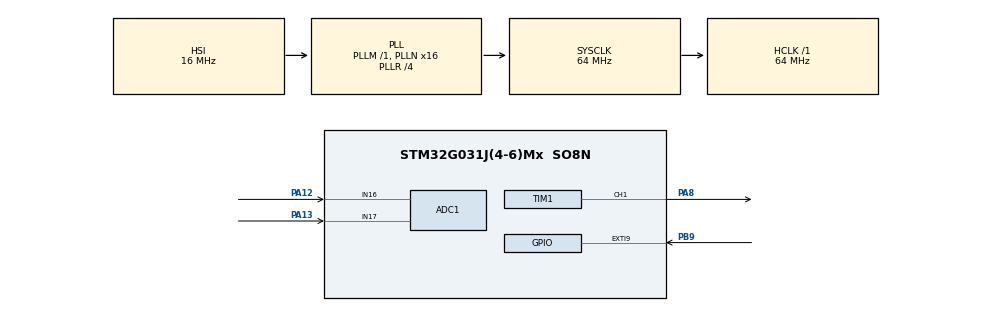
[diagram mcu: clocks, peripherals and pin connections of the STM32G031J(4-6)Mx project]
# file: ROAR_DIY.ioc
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ADC1.ContinuousConvMode=DISABLE
ADC1.DMAContinuousRequests=DISABLE
ADC1.DiscontinuousConvMode=DISABLE
ADC1.NbrOfConversion=1
ADC1.NbrOfConversionFlag=0
ADC1.OversamplingMode=ENABLE
ADC1.Ratio=ADC_OVERSAMPLING_RATIO_256
ADC1.RightBitShift=ADC_RIGHTBITSHIFT_4
ADC1.SamplingTimeCommon1=ADC_SAMPLETIME_1CYCLE_5
ADC1.SelectedChannel=ADC_CHANNEL_16|ADC_CHANNEL_17
ADC1.Sequencer=NOT_FULLY_CONFIGURABLE
ADC1.master=1
Dma.ADC1.1.Direction=DMA_PERIPH_TO_MEMORY
Dma.ADC1.1.EventEnable=DISABLE
Dma.ADC1.1.Instance=DMA1_Channel2
Dma.ADC1.1.MemDataAlignment=DMA_MDATAALIGN_HALFWORD
Dma.ADC1.1.MemInc=DMA_MINC_ENABLE
Dma.ADC1.1.Mode=DMA_NORMAL
Dma.ADC1.1.PeriphDataAlignment=DMA_PDATAALIGN_HALFWORD
Dma.ADC1.1.PeriphInc=DMA_PINC_DISABLE
Dma.ADC1.1.Polarity=HAL_DMAMUX_REQ_GEN_RISING
Dma.ADC1.1.Priority=DMA_PRIORITY_LOW
Dma.ADC1.1.RequestNumber=1
Dma.ADC1.1.SignalID=NONE
Dma.ADC1.1.SyncEnable=DISABLE
Dma.ADC1.1.SyncPolarity=HAL_DMAMUX_SYNC_NO_EVENT
Dma.ADC1.1.SyncRequestNumber=1
Dma.ADC1.1.SyncSignalID=NONE
Dma.Request0=TIM2_CH1
Dma.Request1=ADC1
Dma.TIM2_CH1.0.Direction=DMA_MEMORY_TO_PERIPH
Dma.TIM2_CH1.0.EventEnable=DISABLE
Dma.TIM2_CH1.0.Instance=DMA1_Channel1
Dma.TIM2_CH1.0.MemDataAlignment=DMA_MDATAALIGN_WORD
Dma.TIM2_CH1.0.MemInc=DMA_MINC_ENABLE
Dma.TIM2_CH1.0.Mode=DMA_CIRCULAR
Dma.TIM2_CH1.0.PeriphDataAlignment=DMA_PDATAALIGN_WORD
Dma.TIM2_CH1.0.PeriphInc=DMA_PINC_DISABLE
Dma.TIM2_CH1.0.Polarity=HAL_DMAMUX_REQ_GEN_RISING
Dma.TIM2_CH1.0.Priority=DMA_PRIORITY_HIGH
Dma.TIM2_CH1.0.RequestNumber=1
Dma.TIM2_CH1.0.SignalID=NONE
Dma.TIM2_CH1.0.SyncEnable=DISABLE
Dma.TIM2_CH1.0.SyncPolarity=HAL_DMAMUX_SYNC_NO_EVENT
Dma.TIM2_CH1.0.SyncRequestNumber=1
Dma.TIM2_CH1.0.SyncSignalID=NONE
Mcu.Family=STM32G0
Mcu.Name=STM32G031J(4-6)Mx
Mcu.Package=SO8N
NVIC.DMA1_Channel1_IRQn=true\:0\:0\:false\:false\:true\:false\:true\:true
NVIC.DMA1_Channel2_3_IRQn=true\:0\:0\:false\:false\:true\:false\:true\:true
NVIC.EXTI4_15_IRQn=true\:0\:0\:false\:false\:true\:true\:true\:true
PA12\ [PA10].Mode=IN16
PA12\ [PA10].Signal=ADC1_IN16
PA13.Mode=IN17
PA13.Signal=ADC1_IN17
PA14-BOOT0__PA15__PB5__PB6.StandardMode=true
PA8.Signal=S_TIM1_CH1
PB0__PB1__PA8__PA11\ [PA9].StandardMode=true
PB9.GPIO_ModeDefaultEXTI=GPIO_MODE_IT_RISING_FALLING
PB9.Signal=GPXTI9
PC14-OSC32_IN\ (PC14)__PB7__PB8__PB9.StandardMode=true
PF2\ -\ NRST__PA0__PA1__PA2.StandardMode=true
ProjectManager.HeapSize=0x200
ProjectManager.StackSize=0x400
ProjectManager.TargetToolchain=STM32CubeIDE
RCC.ADCFreq_Value=64000000
RCC.AHBFreq_Value=64000000
RCC.CortexFreq_Value=64000000
RCC.EXTERNAL_CLOCK_VALUE=12288000
RCC.HCLKFreq_Value=64000000
RCC.HSE_VALUE=8000000
RCC.HSI_VALUE=16000000
RCC.LSE_VALUE=32768
RCC.PLLN=16
RCC.PLLR=RCC_PLLR_DIV4
RCC.SYSCLKFreq_VALUE=64000000
RCC.SYSCLKSource=RCC_SYSCLKSOURCE_PLLCLK
RCC.TIM1CLockSelectionVirtual=RCC_TIM1CLKSOURCE_PLL
RCC.VCOOutputFreq_Value=256000000
SH.S_TIM1_CH1.0=TIM1_CH1,PWM Generation1 CH1
TIM1.AutoReloadPreload=TIM_AUTORELOAD_PRELOAD_ENABLE
TIM1.Channel-PWM\ Generation1\ CH1=TIM_CHANNEL_1
TIM1.Period=256-1
TIM2.AutoReloadPreload=TIM_AUTORELOAD_PRELOAD_ENABLE
TIM2.Channel-Output\ Compare1\ No\ Output=TIM_CHANNEL_1
TIM2.Period=1000
VP_TIM1_VS_ClockSourceINT.Mode=Internal
VP_TIM2_VS_ClockSourceINT.Mode=Internal
VP_TIM2_VS_no_output1.Mode=Output Compare1 No Output
board=STM32G0316-DISCO

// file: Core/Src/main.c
/* USER CODE BEGIN Header */
/**
 ******************************************************************************
 * @file           : main.c
 * @brief          : Main program body
 ******************************************************************************
 *ROAR_DIY_25_5_25 - JR_AC
 *
 *MORE ROAR! Guide @ www.dirtyelectronics.org | moreroar.org
 *
 *NOTES DIY version
 *Entropy and group are randomly selected on power on and reset
 *Contains the dialogues.h file (dialogue between Dirty Electronics and Agnes Cameron)
 *
 *Optional
 *A additional button/silly switch to reset group, program and entropy PIN 4 - GND (PIN 3)
 *
 ******************************************************************************
 */
/* USER CODE END Header */
#include "main.h"

/* USER CODE BEGIN Includes */
#include "stdlib.h" // rand
#include "string.h" // memcpy
#include "dialogues.h" // text - dialogue between Dirty Electronics and Agnes Cameron

#define NS 256 // number of samples in wavetable 0 - 255
#define PROGRAMS 3 // number of PROGRAMS per GROUP (9 PROGRAMS in total)
#define ENTROPIES 6 // number of ENTROPIES
#define ENTROPY_RANGE 20 // ENTROPY_RANGE - see also entropy_rate*entropy_multiplier
#define ADC_RANGE 65536

/* USER CODE END Includes */

/* USER CODE BEGIN PTD */

/* tables --------------------------------------------------------------------*/

// sine wave 8 bit resolution scaled to 94% max val
uint32_t sine[NS] = { 120, 123, 126, 129, 132, 134, 137, 140, 143, 146, 149,
		152, 155, 157, 160, 163, 165, 168, 171, 174, 177, 179, 181, 184, 186,
		189, 191, 194, 196, 198, 200, 202, 205, 207, 209, 211, 212, 214, 216,
		218, 220, 221, 223, 224, 226, 227, 228, 229, 230, 231, 233, 234, 235,
		235, 236, 237, 238, 238, 239, 239, 239, 240, 240, 240, 240, 240, 240,
		240, 239, 239, 239, 238, 238, 237, 236, 235, 235, 234, 233, 231, 230,
		229, 228, 227, 226, 224, 223, 221, 220, 218, 216, 214, 212, 211, 209,
		207, 205, 202, 200, 198, 196, 194, 191, 189, 186, 184, 181, 179, 177,
		174, 171, 168, 165, 163, 160, 157, 155, 152, 149, 146, 143, 140, 137,
		134, 132, 129, 126, 123, 120, 117, 114, 111, 108, 105, 102, 100, 97, 94,
		91, 87, 85, 83, 80, 77, 74, 71, 69, 66, 63, 61, 58, 55, 54, 51, 49, 46,
		44, 41, 39, 38, 35, 33, 31, 29, 27, 25, 24, 22, 20, 19, 17, 16, 14, 13,
		11, 10, 9, 8, 7, 6, 5, 5, 4, 3, 2, 2, 1, 1, 1, 0, 0, 0, 0, 0, 0, 0, 1,
		1, 1, 2, 2, 3, 4, 5, 5, 6, 7, 8, 9, 10, 11, 13, 14, 16, 17, 19, 20, 22,
		24, 25, 27, 29, 31, 33, 35, 38, 39, 41, 44, 46, 49, 51, 54, 55, 58, 61,
		63, 66, 69, 71, 74, 77, 80, 83, 85, 87, 91, 94, 97, 100, 102, 105, 108,
		111, 114, 117 };

// triangle wave 8 bit resolution scaled to 94% max val
uint32_t triangle[NS] = { 120, 121, 123, 125, 127, 129, 131, 133, 134, 136, 138,
		140, 142, 144, 146, 148, 149, 151, 153, 155, 157, 159, 161, 163, 165,
		166, 168, 170, 172, 174, 176, 178, 180, 181, 183, 185, 187, 189, 191,
		193, 195, 196, 198, 200, 202, 204, 206, 208, 210, 212, 213, 215, 217,
		219, 221, 223, 225, 227, 228, 230, 232, 234, 236, 238, 240, 238, 236,
		234, 232, 230, 228, 227, 225, 223, 221, 219, 217, 215, 213, 212, 210,
		208, 206, 204, 202, 200, 198, 196, 195, 193, 191, 189, 187, 185, 183,
		181, 180, 178, 176, 174, 172, 170, 168, 166, 165, 163, 161, 159, 157,
		155, 153, 151, 149, 148, 146, 144, 142, 140, 138, 136, 134, 133, 131,
		129, 127, 125, 123, 121, 120, 118, 117, 115, 113, 111, 109, 107, 105,
		103, 102, 100, 98, 96, 94, 92, 90, 88, 86, 85, 83, 81, 79, 77, 75, 73,
		71, 70, 68, 66, 64, 62, 60, 58, 56, 55, 53, 51, 49, 47, 45, 43, 41, 39,
		38, 36, 34, 32, 30, 28, 26, 24, 23, 21, 19, 17, 15, 13, 11, 9, 8, 6, 4,
		2, 0, 2, 4, 6, 8, 9, 11, 13, 15, 17, 19, 21, 23, 24, 26, 28, 30, 32, 34,
		36, 38, 39, 41, 43, 45, 47, 49, 51, 53, 55, 56, 58, 60, 62, 64, 66, 68,
		70, 71, 73, 75, 77, 79, 81, 83, 85, 86, 88, 90, 92, 94, 96, 98, 100,
		102, 103, 105, 107, 109, 111, 113, 115, 117, 118 };

// wave_LUT
uint32_t wave_LUT[NS];

// DstAddress
uint32_t DstAddress = (uint32_t) &(TIM1->CCR1);

/* USER CODE END PTD */

ADC_HandleTypeDef hadc1;
DMA_HandleTypeDef hdma_adc1;

TIM_HandleTypeDef htim1;
TIM_HandleTypeDef htim2;
DMA_HandleTypeDef hdma_tim2_ch1;

/* USER CODE BEGIN PV */
// program/group select
uint8_t program_sel = 1;
uint8_t group = 1;
uint8_t entropy_multiplier = 0;

volatile uint8_t entropy_rate = 0;
volatile uint8_t entropy = 2;

// debounce
uint32_t previousMillis = 0;
uint32_t currentMillis = 0;
uint32_t reset_timer = 0;

// ADC setup
volatile uint16_t adcResultsDMA[2];
const uint8_t adcChannelCount = sizeof(adcResultsDMA)
		/ sizeof(adcResultsDMA[0]);
volatile uint8_t adcConversionComplete = 0;

/* USER CODE END PV */

void SystemClock_Config(void);
static void MX_GPIO_Init(void);
static void MX_DMA_Init(void);
static void MX_TIM1_Init(void);
static void MX_TIM2_Init(void);
static void MX_ADC1_Init(void);
/* USER CODE BEGIN PFP */

/* USER CODE BEGIN 0 */

////////////////
//// FUNCTIONS
void noise_func(uint32_t dest[], int length) {
	for (uint16_t i = 0; i < length; i++) {
		dest[i] = rand() % 240;
	}
}

///////////////
//// ENTROPIES
//5 -- triangle_smash
//4 -- XOR
//3 -- top2bottom
//2 -- bitcrush
//1 -- clip
//0 -- shuffle

//
void triangle_smash_func(uint32_t dest[], uint32_t src[], uint32_t triangle[],
		int length, int entropy) {
	for (int i = 0; i < length; i++) {
		dest[i] = src[i];
	}

	if (entropy < 4)
		entropy = 4;

	for (int i = rand() % length; i < entropy; i++) {
		uint32_t idx = i % length;
		dest[idx] = triangle[(idx + entropy) % length];
	}
}

void XOR_func(uint32_t dest[], uint32_t src[], uint16_t length,
		uint16_t entropy) {
	for (int i = 0; i < length; i++) {
		dest[i] = src[i];
		dest[i] ^= entropy;

		if (dest[i] > 240)
			dest[i] = 240;
		else if (dest[i] < 1)
			dest[i] = 1;
	}
}
//
void top2bottom_func(uint32_t dest[], uint32_t src[], uint16_t length,
		uint16_t entropy) {
	for (int i = 0; i < length; i++) {
		uint8_t new_val = src[i] - entropy;
		if (new_val < 0)
			new_val = 0;
		dest[i] = new_val;
	}
}
//
void bitcrush_func(uint32_t dest[], uint32_t src[], uint16_t length,
		uint16_t entropy) {
	if (entropy > 1) {

		uint8_t num_steps = length / entropy;

		//this gets the first entropy*num_steps elements of the array
		for (uint8_t i = 0; i < num_steps; i++) {
			uint8_t first_el = src[entropy * i];
			for (uint8_t j = 0; j < entropy; j++) {
				dest[j + entropy * i] = first_el;
			}
		}

		if (num_steps * entropy < length) {
			uint16_t leftover_el = src[num_steps * entropy];

			for (uint16_t i = num_steps * entropy; i < length; i++) {
				dest[i] = leftover_el;
			}
		}
	}

	else {
		for (int i = 0; i < length; i++) {
			dest[i] = src[i];
		}
	}
}
//
void clip_func(uint32_t dest[], uint32_t src[], uint16_t length,
		uint16_t entropy) {
	for (uint16_t i = 0; i < length; i++) {
		dest[i] = src[i];
		dest[i] += entropy;
	}
}
//
void shuffle_func(uint32_t dest[], uint32_t src[], int length, int entropy) {
	for (int i = 0; i < length; i++) {
		dest[i] = src[i];
	}

	for (int i = 0; i < entropy; i++) {
		uint32_t rand_idx_1 = rand() % length;
		uint32_t rand_idx_2 = (rand_idx_1 + rand() % entropy) % length;

		dest[rand_idx_1] = src[rand_idx_2];
		dest[rand_idx_2] = src[rand_idx_1];
	}
}

/* USER CODE END 0 */

// EXTI Line9 External Interrupt ISR Handler CallBackFun
void HAL_GPIO_EXTI_Falling_Callback(uint16_t GPIO_Pin) {
	currentMillis = HAL_GetTick(); // debounce

	if (GPIO_Pin == GPIO_PIN_9 && (currentMillis - previousMillis > 80)) { // 80 ms debounce

		if (currentMillis - reset_timer > 2000) { // reset function - hold greater than 2 secs
			NVIC_SystemReset();
			reset_timer = currentMillis;
		}
	}
}

// EXTI Line9 External Interrupt ISR Handler CallBackFun
// modified for rising and falling callback
void HAL_GPIO_EXTI_Rising_Callback(uint16_t GPIO_Pin) {
	currentMillis = HAL_GetTick(); // debounce

//	&& HAL_GPIO_ReadPin(GPIOA, GPIO_PIN_9)

	if (GPIO_Pin == GPIO_PIN_9 && (currentMillis - previousMillis > 80)) { // 80 ms debounce
		previousMillis = currentMillis;
		reset_timer = currentMillis; // separate timer for press and release

		// tmp array
		uint32_t tmp_wav[NS];
		program_sel += 1;

		if (program_sel > PROGRAMS) {

			program_sel = 1;
			entropy_multiplier += 1;

			// ENTROPY CHANGE
			if (entropy == 5) {
				triangle_smash_func(tmp_wav, sine, triangle, NS,
						entropy_rate * entropy_multiplier);
			}

			else if (entropy == 4) {
				XOR_func(tmp_wav, sine, NS, entropy_rate * entropy_multiplier); // kind of artificial/sickly
			}

			else if (entropy == 3) {
				top2bottom_func(tmp_wav, sine, NS,
						entropy_rate * entropy_multiplier); // nastyy
			}

			else if (entropy == 2) {
				bitcrush_func(tmp_wav, sine, NS,
						entropy_rate * entropy_multiplier); // beep beep
			}

			else if (entropy == 1) {
				clip_func(tmp_wav, sine, NS, entropy_rate * entropy_multiplier); // tonal, bell-like - swanny whistle
			}

			else {
				shuffle_func(tmp_wav, sine, NS,
						entropy_rate * entropy_multiplier); // classic crackly static
			}

			memcpy(wave_LUT, tmp_wav, sizeof(tmp_wav));
		}
	}
	//ENDS HERE
}

/* USER CODE END 0 */

int main(void) {

	/* MCU Configuration--------------------------------------------------------*/

	/* Reset of all peripherals, Initializes the Flash interface and the Systick. */
	HAL_Init();

	/* Configure the system clock */
	SystemClock_Config();

	/* Initialize all configured peripherals */
	MX_GPIO_Init();
	MX_DMA_Init();
	MX_TIM1_Init();
	MX_TIM2_Init();
	MX_ADC1_Init();
	/* USER CODE BEGIN 2 */

// TIM1->CCR1 = 128; // PWM test
	HAL_TIM_PWM_Start(&htim1, TIM_CHANNEL_1);
	HAL_TIM_OC_Start(&htim2, TIM_CHANNEL_1);
	HAL_DMA_Start_IT(&hdma_tim2_ch1, (uint32_t) sine, DstAddress, NS);
	__HAL_TIM_ENABLE_DMA(&htim2, TIM_DMA_CC1);
// Calibrate The ADC On Power-Up For Better Accuracy
	HAL_ADCEx_Calibration_Start(&hadc1);

	//get first adc results to initialise entropy cores
	HAL_ADC_Start_DMA(&hadc1, (uint32_t*) adcResultsDMA, adcChannelCount);
	while (adcConversionComplete == 0) {

	}
	adcConversionComplete = 0;

	// extra waves

	// noise
	uint32_t noise[NS];

	// saw_xmax wave tilted 0.96 - 8 bit resolution scaled to 94% max val
	uint32_t saw_xmax[NS] = { 0, 1, 2, 3, 4, 5, 6, 7, 8, 9, 10, 11, 12, 12, 13,
			14, 15, 16, 17, 18, 19, 20, 21, 22, 23, 24, 25, 26, 27, 28, 29, 30,
			31, 32, 33, 34, 35, 36, 36, 37, 38, 39, 40, 41, 42, 43, 44, 45, 46,
			47, 48, 49, 50, 51, 52, 53, 54, 55, 56, 57, 58, 59, 60, 61, 61, 62,
			63, 64, 65, 66, 67, 68, 69, 70, 71, 72, 73, 74, 75, 76, 77, 78, 79,
			80, 81, 82, 83, 84, 85, 85, 86, 87, 88, 89, 90, 91, 92, 93, 94, 95,
			96, 97, 98, 99, 100, 101, 102, 103, 104, 105, 106, 107, 108, 109,
			109, 110, 111, 112, 113, 114, 115, 116, 117, 118, 119, 120, 121,
			122, 123, 124, 125, 126, 127, 128, 129, 130, 131, 132, 133, 133,
			134, 135, 136, 137, 138, 139, 140, 141, 142, 143, 144, 145, 146,
			147, 148, 149, 150, 151, 152, 153, 154, 155, 156, 157, 158, 158,
			159, 160, 161, 162, 163, 164, 165, 166, 167, 168, 169, 170, 171,
			172, 173, 174, 175, 176, 177, 178, 179, 180, 181, 182, 182, 183,
			184, 185, 186, 187, 188, 189, 190, 191, 192, 193, 194, 195, 196,
			197, 198, 199, 200, 201, 202, 203, 204, 205, 206, 206, 207, 208,
			209, 210, 211, 212, 213, 214, 215, 216, 217, 218, 219, 220, 221,
			222, 223, 224, 225, 226, 227, 228, 229, 230, 230, 231, 232, 233,
			234, 235, 236, 237, 238, 239, 235, 188, 141, 94, 47, 0 };

	//set up variables
	memcpy(wave_LUT, sine, sizeof(sine));
	srand(adcResultsDMA[1]); // set random seed

	entropy_rate = 1 + rand() % ENTROPY_RANGE;
	uint32_t ctr = 0;
	uint16_t phase = 0;
	uint8_t phase_add = 15;
	uint32_t freq = 1000;
	uint32_t ctr_scale = 0;
	uint32_t table_lookup = 1000;
	uint32_t ad0_bitshift = 1000;
	uint16_t period = 100;

	entropy = rand() % 6;
	group = rand() % 3 + 1;

	/* USER CODE END 2 */

	/* Infinite loop */
	/* USER CODE BEGIN WHILE */

	while (1) {

		///// GROUP 1
		///// WEATHERED
		if (group == 1) {

			// DMA
			DMA1_Channel1->CMAR = (uint32_t) wave_LUT; // SrcAddress

			if (program_sel == 1) {
				/////////////
				// PROGRAM 1

				ctr_scale = (adcResultsDMA[1] >> 9) + 1;

				for (int i = 0; i < NS; i++) {
					noise[i] = (rand() % 240) + 1;
				}

				table_lookup = noise[phase];
				ad0_bitshift = (adcResultsDMA[0] >> 3);
				freq = ad0_bitshift
						+ (table_lookup) * ((adcResultsDMA[1] >> 10) + 1);

				if (freq <= 0)
					freq = 1;
				TIM2->ARR = freq;

				ctr += 1;
				if (ctr % ctr_scale == 0) {
					phase += 10;
				}

				phase = phase % NS;
				ctr = ctr % NS;
			}

			else if (program_sel == 2) {
				/////////////
				// PROGRAM 2

				ctr_scale = (adcResultsDMA[1] >> 9) + 1;
				table_lookup = sine[phase];
				ad0_bitshift = (adcResultsDMA[0] >> 3); // Counter Period (ARR) random length
				freq = ad0_bitshift + (table_lookup) * ((rand() % 100) + 1);

				if (freq <= 0)
					freq = 1;
				TIM2->ARR = freq;

				ctr += 1;
				if (ctr % ctr_scale == 0) {
					phase ^= (adcResultsDMA[1] >> 3);
				}

				phase = phase % NS;
				ctr = ctr % NS;
			}

			else if (program_sel == 3) {
				/////////////
				// PROGRAM 3

				ctr_scale = (adcResultsDMA[1] >> 9) + 1;
				table_lookup = sine[phase];
				uint32_t rand_mod = (adcResultsDMA[1] >> 9);
				if (rand_mod > 100)
					rand_mod = 100;
				else if (rand_mod < 1)
					rand_mod = 1;

				ad0_bitshift = ((adcResultsDMA[0] >> 5) + 10)
						* (rand() % rand_mod + 1);
				freq = ad0_bitshift + (table_lookup) * 2;

				if (freq <= 0)
					freq = 1;
				TIM2->ARR = freq;

				ctr += 1;
				if (ctr % ctr_scale == 0) {
					phase += 1;
				}

				phase = phase % NS;
				ctr = ctr % NS;
			}
		}

		///// GROUP 2
		///// PITCHED

		if (group == 2) {

			// DMA
			DMA1_Channel1->CMAR = (uint32_t) wave_LUT; // SrcAddress

			if (program_sel == 1) {
				////////////////
				// PROGRAM 1 (4)

				ctr_scale = 1;
				phase_add = (adcResultsDMA[1] >> 9);
				table_lookup = sine[phase];
				ad0_bitshift = (adcResultsDMA[0] >> 3);
				freq = ad0_bitshift + (table_lookup) * 2;

				if (freq <= 0)
					freq = 1;
				TIM2->ARR = freq;

				ctr += 1;
				if (ctr % ctr_scale == 0) {
					phase += phase_add; // note!
				}

				phase = phase % NS;
				ctr = ctr % NS;
			}

			else if (program_sel == 2) {
				////////////////
				// PROGRAM 2 (5)

				ctr_scale = (adcResultsDMA[1] >> 9) + 1;
				table_lookup = sine[phase];
				ad0_bitshift = (adcResultsDMA[0] >> 2); // edited
				freq = ad0_bitshift + (table_lookup) * 30;

				if (freq <= 0)
					freq = 1;
				TIM2->ARR = freq;

				ctr += 1;
				if (ctr % ctr_scale == 0) {
					phase += 10;
				}

				phase = phase % NS;
				ctr = ctr % NS;
			}

			else if (program_sel == 3) {
				////////////////
				// PROGRAM 3 (6)

				ctr_scale = (adcResultsDMA[1] >> 9) + 1;
				table_lookup = saw_xmax[phase];
				freq = (adcResultsDMA[0] >> 3) + ((table_lookup) * 11);

				if (freq <= 0)
					freq = 1;
				TIM2->ARR = freq;

				ctr += 1;
				if (ctr % ctr_scale == 0) {
					phase += 1;
				}

				phase = phase % NS;
				ctr = ctr % NS;
			}
		}

		///// GROUP 3
		///// SCATTERED

		if (group == 3) {
			if (program_sel == 1) {
				////////////////
				// PROGRAM 1 (7)

				uint16_t envelope_clock = HAL_GetTick() % period; // debounce
				uint16_t multiplier = 1; // period/4;
				uint16_t marker_1 = period / 4;
				uint16_t marker_2 = period / 2;
				uint16_t marker_3 = 3 * period / 4;

				if (envelope_clock == 0) { // only reset the period every cycle, stops noise
					period = 300 + adcResultsDMA[1] / 500
							+ adcResultsDMA[0] / 800;
					if (period < 60)
						period = 60;
					else if (period > 600)
						period = 600;
					period = period - period % 4; // must divide by 4

					// marker 1 between 0 and 0.5 * period
					marker_1 = ((adcResultsDMA[0] % ADC_RANGE) * period)
							/ (ADC_RANGE * 2);

					// marker 3 between 0.5 and 1.0 * period
					marker_3 = ((adcResultsDMA[1] % ADC_RANGE) * period)
							/ (ADC_RANGE * 2) + period / 2;
				}

				// ATTACK -- ramp up
				if (envelope_clock < marker_1) {
					multiplier = envelope_clock * ((period / 4) / marker_1);
				}

				// SUSTAIN
				else if (envelope_clock < marker_2) {
					multiplier = period / 4;
				}

				// DECAY -- ramp down
				else if (envelope_clock < 3 * marker_3) {
					multiplier = (period - envelope_clock)
							* ((period / 4) / (marker_3 - marker_2));
				}

				uint32_t tmp_wav[NS];
				for (uint16_t i = 0; i < NS; i++) {
					uint16_t new_val = wave_LUT[i] * multiplier / (period / 4);
					if (new_val > 240)
						new_val = 240;
					if (new_val < 1)
						new_val = 1;
					tmp_wav[i] = new_val;
				}
				DMA1_Channel1->CMAR = (uint32_t) tmp_wav; // SrcAddress

				ctr_scale = (adcResultsDMA[1] >> 9) + 1;
				table_lookup = sine[phase];
				ad0_bitshift = (adcResultsDMA[0] >> 4);
				freq = ad0_bitshift + (table_lookup) * 20;

				if (freq <= 0)
					freq = 1;
				TIM2->ARR = freq;

				ctr += 1;
				if (ctr % ctr_scale == 0) {
					phase += rand() % NS;
				}

				phase = phase % NS;
				ctr = ctr % NS;
			}

			else if (program_sel == 2) {
				////////////////
				// PROGRAM 2 (8)
				// ENVELOPE FUNC 1 - CONTROLS FROM BOTH DMAS

				uint16_t period = adcResultsDMA[1] / 1000
						+ adcResultsDMA[0] / 1000;
				if (period < 60)
					period = 60;
				period = period - period % 4; // must divide by 4
				uint16_t envelope_clock = HAL_GetTick() % period; // debounce
				uint16_t divisor = period / 4; // period/4;

				// ATTACK -- ramp up
				if (envelope_clock < period / 4) {
					divisor = (period / 4 - envelope_clock) + 1;
				}

				// SUSTAIN
				else if (envelope_clock < period / 2) {
					divisor = 1;
				}

				// DECAY -- ramp down
				else if (envelope_clock < 3 * period / 4) {
					divisor = (envelope_clock - 3 * period / 4) + 1;
				}

				else
					divisor = period / 4;

				uint32_t divisor_scaled = (divisor * 100 / period);

				uint32_t tmp_wav[NS];
				for (int i = 0; i < NS; i++)
					tmp_wav[i] = wave_LUT[i] / divisor_scaled;
				DMA1_Channel1->CMAR = (uint32_t) tmp_wav; // SrcAddress

				ctr_scale = 1;
				phase_add = (adcResultsDMA[1] >> 8);
				table_lookup = sine[phase];
				ad0_bitshift = (adcResultsDMA[0] >> 3);
				freq = ad0_bitshift + (table_lookup) * 2;

				if (freq <= 0)
					freq = 1;
				TIM2->ARR = freq;

				ctr += 1;
				if (ctr % ctr_scale == 0) {
					phase += phase_add; // note!
				}

				phase = phase % NS;
				ctr = ctr % NS;
			}

			else if (program_sel == 3) {
				////////////////
				// PROGRAM 3 (9)
				// ULTIMATE QUESTION OF LIFE

				// DMA
				DMA1_Channel1->CMAR = (uint32_t) wave_LUT; // SrcAddress
				ctr_scale = (adcResultsDMA[1] >> 9) + 1; //9

				table_lookup = sine[phase];
				ad0_bitshift = (adcResultsDMA[0] >> 3);
				freq = ad0_bitshift
						+ (table_lookup) * ((adcResultsDMA[0] >> 7) + 1); //10

				if (freq <= 0)
					freq = 1;
				TIM2->ARR = freq;

				ctr += 1;
				if (ctr % ctr_scale == 0) {
					phase += (rand() % 42) + 1;
				}

				phase = phase % NS;
				ctr = ctr % NS;
			}
		}

		///////////////////
		// END OF PROGRAMS

		if (entropy == 0 && entropy_multiplier > 0 && ctr % ctr_scale == 0) {

			// tmp
			uint32_t tmp_wav[NS];

			shuffle_func(tmp_wav, sine, NS, entropy_rate * entropy_multiplier); // classic crackly static
			memcpy(wave_LUT, tmp_wav, sizeof(tmp_wav));
		}

		/* USER CODE END WHILE */

		/* USER CODE BEGIN 3 */
		HAL_ADC_Start_DMA(&hadc1, (uint32_t*) adcResultsDMA, adcChannelCount);
		while (adcConversionComplete == 0) {

		}
		adcConversionComplete = 0;
	} // end of while loop!
	/* USER CODE END 3 */
}

void SystemClock_Config(void) {
	RCC_OscInitTypeDef RCC_OscInitStruct = { 0 };
	RCC_ClkInitTypeDef RCC_ClkInitStruct = { 0 };

	/** Configure the main internal regulator output voltage
	 */
	HAL_PWREx_ControlVoltageScaling(PWR_REGULATOR_VOLTAGE_SCALE1);

	/** Initializes the RCC Oscillators according to the specified parameters
	 * in the RCC_OscInitTypeDef structure.
	 */
	RCC_OscInitStruct.OscillatorType = RCC_OSCILLATORTYPE_HSI;
	RCC_OscInitStruct.HSIState = RCC_HSI_ON;
	RCC_OscInitStruct.HSIDiv = RCC_HSI_DIV1;
	RCC_OscInitStruct.HSICalibrationValue = RCC_HSICALIBRATION_DEFAULT;
	RCC_OscInitStruct.PLL.PLLState = RCC_PLL_ON;
	RCC_OscInitStruct.PLL.PLLSource = RCC_PLLSOURCE_HSI;
	RCC_OscInitStruct.PLL.PLLM = RCC_PLLM_DIV1;
	RCC_OscInitStruct.PLL.PLLN = 16;
	RCC_OscInitStruct.PLL.PLLP = RCC_PLLP_DIV2;
	RCC_OscInitStruct.PLL.PLLQ = RCC_PLLQ_DIV2;
	RCC_OscInitStruct.PLL.PLLR = RCC_PLLR_DIV4;
	if (HAL_RCC_OscConfig(&RCC_OscInitStruct) != HAL_OK) {
		Error_Handler();
	}

	/** Initializes the CPU, AHB and APB buses clocks
	 */
	RCC_ClkInitStruct.ClockType = RCC_CLOCKTYPE_HCLK | RCC_CLOCKTYPE_SYSCLK
			| RCC_CLOCKTYPE_PCLK1;
	RCC_ClkInitStruct.SYSCLKSource = RCC_SYSCLKSOURCE_PLLCLK;
	RCC_ClkInitStruct.AHBCLKDivider = RCC_SYSCLK_DIV1;
	RCC_ClkInitStruct.APB1CLKDivider = RCC_HCLK_DIV1;

	if (HAL_RCC_ClockConfig(&RCC_ClkInitStruct, FLASH_LATENCY_2) != HAL_OK) {
		Error_Handler();
	}
}

static void MX_ADC1_Init(void) {

	ADC_ChannelConfTypeDef sConfig = { 0 };

	/** Configure the global features of the ADC (Clock, Resolution, Data Alignment and number of conversion)
	 */
	hadc1.Instance = ADC1;
	hadc1.Init.ClockPrescaler = ADC_CLOCK_SYNC_PCLK_DIV2;
	hadc1.Init.Resolution = ADC_RESOLUTION_12B;
	hadc1.Init.DataAlign = ADC_DATAALIGN_RIGHT;
	hadc1.Init.ScanConvMode = ADC_SCAN_SEQ_FIXED;
	hadc1.Init.EOCSelection = ADC_EOC_SINGLE_CONV;
	hadc1.Init.LowPowerAutoWait = DISABLE;
	hadc1.Init.LowPowerAutoPowerOff = DISABLE;
	hadc1.Init.ContinuousConvMode = DISABLE;
	hadc1.Init.NbrOfConversion = 1;
	hadc1.Init.DiscontinuousConvMode = DISABLE;
	hadc1.Init.ExternalTrigConv = ADC_SOFTWARE_START;
	hadc1.Init.ExternalTrigConvEdge = ADC_EXTERNALTRIGCONVEDGE_NONE;
	hadc1.Init.DMAContinuousRequests = DISABLE;
	hadc1.Init.Overrun = ADC_OVR_DATA_PRESERVED;
	hadc1.Init.SamplingTimeCommon1 = ADC_SAMPLETIME_1CYCLE_5;
	hadc1.Init.OversamplingMode = ENABLE;
	hadc1.Init.Oversampling.Ratio = ADC_OVERSAMPLING_RATIO_256;
	hadc1.Init.Oversampling.RightBitShift = ADC_RIGHTBITSHIFT_4;
	hadc1.Init.Oversampling.TriggeredMode = ADC_TRIGGEREDMODE_SINGLE_TRIGGER;
	hadc1.Init.TriggerFrequencyMode = ADC_TRIGGER_FREQ_HIGH;
	if (HAL_ADC_Init(&hadc1) != HAL_OK) {
		Error_Handler();
	}

	/** Configure Regular Channel
	 */
	sConfig.Channel = ADC_CHANNEL_16;
	sConfig.Rank = ADC_RANK_CHANNEL_NUMBER;
	if (HAL_ADC_ConfigChannel(&hadc1, &sConfig) != HAL_OK) {
		Error_Handler();
	}

	/** Configure Regular Channel
	 */
	sConfig.Channel = ADC_CHANNEL_17;
	if (HAL_ADC_ConfigChannel(&hadc1, &sConfig) != HAL_OK) {
		Error_Handler();
	}

}

static void MX_TIM1_Init(void) {

	TIM_ClockConfigTypeDef sClockSourceConfig = { 0 };
	TIM_MasterConfigTypeDef sMasterConfig = { 0 };
	TIM_OC_InitTypeDef sConfigOC = { 0 };
	TIM_BreakDeadTimeConfigTypeDef sBreakDeadTimeConfig = { 0 };

	htim1.Instance = TIM1;
	htim1.Init.Prescaler = 0;
	htim1.Init.CounterMode = TIM_COUNTERMODE_UP;
	htim1.Init.Period = 256 - 1;
	htim1.Init.ClockDivision = TIM_CLOCKDIVISION_DIV1;
	htim1.Init.RepetitionCounter = 0;
	htim1.Init.AutoReloadPreload = TIM_AUTORELOAD_PRELOAD_ENABLE;
	if (HAL_TIM_Base_Init(&htim1) != HAL_OK) {
		Error_Handler();
	}
	sClockSourceConfig.ClockSource = TIM_CLOCKSOURCE_INTERNAL;
	if (HAL_TIM_ConfigClockSource(&htim1, &sClockSourceConfig) != HAL_OK) {
		Error_Handler();
	}
	if (HAL_TIM_PWM_Init(&htim1) != HAL_OK) {
		Error_Handler();
	}
	sMasterConfig.MasterOutputTrigger = TIM_TRGO_RESET;
	sMasterConfig.MasterOutputTrigger2 = TIM_TRGO2_RESET;
	sMasterConfig.MasterSlaveMode = TIM_MASTERSLAVEMODE_DISABLE;
	if (HAL_TIMEx_MasterConfigSynchronization(&htim1, &sMasterConfig)
			!= HAL_OK) {
		Error_Handler();
	}
	sConfigOC.OCMode = TIM_OCMODE_PWM1;
	sConfigOC.Pulse = 0;
	sConfigOC.OCPolarity = TIM_OCPOLARITY_HIGH;
	sConfigOC.OCNPolarity = TIM_OCNPOLARITY_HIGH;
	sConfigOC.OCFastMode = TIM_OCFAST_DISABLE;
	sConfigOC.OCIdleState = TIM_OCIDLESTATE_RESET;
	sConfigOC.OCNIdleState = TIM_OCNIDLESTATE_RESET;
	if (HAL_TIM_PWM_ConfigChannel(&htim1, &sConfigOC, TIM_CHANNEL_1)
			!= HAL_OK) {
		Error_Handler();
	}
	sBreakDeadTimeConfig.OffStateRunMode = TIM_OSSR_DISABLE;
	sBreakDeadTimeConfig.OffStateIDLEMode = TIM_OSSI_DISABLE;
	sBreakDeadTimeConfig.LockLevel = TIM_LOCKLEVEL_OFF;
	sBreakDeadTimeConfig.DeadTime = 0;
	sBreakDeadTimeConfig.BreakState = TIM_BREAK_DISABLE;
	sBreakDeadTimeConfig.BreakPolarity = TIM_BREAKPOLARITY_HIGH;
	sBreakDeadTimeConfig.BreakFilter = 0;
	sBreakDeadTimeConfig.BreakAFMode = TIM_BREAK_AFMODE_INPUT;
	sBreakDeadTimeConfig.Break2State = TIM_BREAK2_DISABLE;
	sBreakDeadTimeConfig.Break2Polarity = TIM_BREAK2POLARITY_HIGH;
	sBreakDeadTimeConfig.Break2Filter = 0;
	sBreakDeadTimeConfig.Break2AFMode = TIM_BREAK_AFMODE_INPUT;
	sBreakDeadTimeConfig.AutomaticOutput = TIM_AUTOMATICOUTPUT_DISABLE;
	if (HAL_TIMEx_ConfigBreakDeadTime(&htim1, &sBreakDeadTimeConfig)
			!= HAL_OK) {
		Error_Handler();
	}
	HAL_TIM_MspPostInit(&htim1);

}

static void MX_TIM2_Init(void) {

	TIM_ClockConfigTypeDef sClockSourceConfig = { 0 };
	TIM_MasterConfigTypeDef sMasterConfig = { 0 };
	TIM_OC_InitTypeDef sConfigOC = { 0 };

	htim2.Instance = TIM2;
	htim2.Init.Prescaler = 0;
	htim2.Init.CounterMode = TIM_COUNTERMODE_UP;
	htim2.Init.Period = 1000;
	htim2.Init.ClockDivision = TIM_CLOCKDIVISION_DIV1;
	htim2.Init.AutoReloadPreload = TIM_AUTORELOAD_PRELOAD_ENABLE;
	if (HAL_TIM_Base_Init(&htim2) != HAL_OK) {
		Error_Handler();
	}
	sClockSourceConfig.ClockSource = TIM_CLOCKSOURCE_INTERNAL;
	if (HAL_TIM_ConfigClockSource(&htim2, &sClockSourceConfig) != HAL_OK) {
		Error_Handler();
	}
	if (HAL_TIM_OC_Init(&htim2) != HAL_OK) {
		Error_Handler();
	}
	sMasterConfig.MasterOutputTrigger = TIM_TRGO_RESET;
	sMasterConfig.MasterSlaveMode = TIM_MASTERSLAVEMODE_DISABLE;
	if (HAL_TIMEx_MasterConfigSynchronization(&htim2, &sMasterConfig)
			!= HAL_OK) {
		Error_Handler();
	}
	sConfigOC.OCMode = TIM_OCMODE_TIMING;
	sConfigOC.Pulse = 0;
	sConfigOC.OCPolarity = TIM_OCPOLARITY_HIGH;
	sConfigOC.OCFastMode = TIM_OCFAST_DISABLE;
	if (HAL_TIM_OC_ConfigChannel(&htim2, &sConfigOC, TIM_CHANNEL_1) != HAL_OK) {
		Error_Handler();
	}

}

static void MX_DMA_Init(void) {

	/* DMA controller clock enable */
	__HAL_RCC_DMA1_CLK_ENABLE();

	/* DMA interrupt init */
	/* DMA1_Channel1_IRQn interrupt configuration */
	HAL_NVIC_SetPriority(DMA1_Channel1_IRQn, 0, 0);
	HAL_NVIC_EnableIRQ(DMA1_Channel1_IRQn);
	/* DMA1_Channel2_3_IRQn interrupt configuration */
	HAL_NVIC_SetPriority(DMA1_Channel2_3_IRQn, 0, 0);
	HAL_NVIC_EnableIRQ(DMA1_Channel2_3_IRQn);

}

static void MX_GPIO_Init(void) {
	GPIO_InitTypeDef GPIO_InitStruct = { 0 };

	/* GPIO Ports Clock Enable */
	__HAL_RCC_GPIOB_CLK_ENABLE();
	__HAL_RCC_GPIOA_CLK_ENABLE();

	/*Configure GPIO pin : PB9 */
	GPIO_InitStruct.Pin = GPIO_PIN_9;
	GPIO_InitStruct.Mode = GPIO_MODE_IT_RISING_FALLING;
	GPIO_InitStruct.Pull = GPIO_NOPULL;
	HAL_GPIO_Init(GPIOB, &GPIO_InitStruct);

	/* EXTI interrupt init*/
	HAL_NVIC_SetPriority(EXTI4_15_IRQn, 0, 0);
	HAL_NVIC_EnableIRQ(EXTI4_15_IRQn);

}

/* USER CODE BEGIN 4 */
void HAL_ADC_ConvCpltCallback(ADC_HandleTypeDef *hadc) {
// Conversion Complete & DMA Transfer Complete As Well
	adcConversionComplete = 1;
}

/* USER CODE END 4 */

void Error_Handler(void) {
	__disable_irq();
	while (1) {
	}
}
